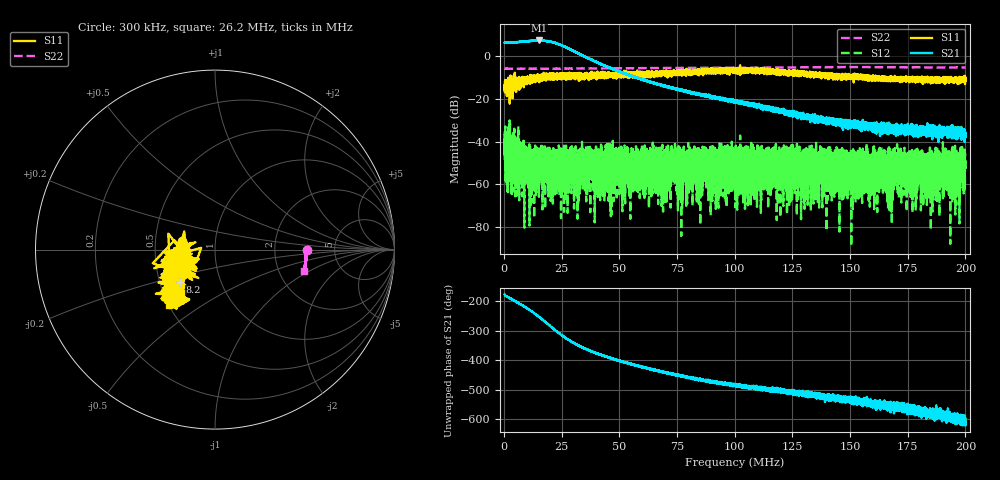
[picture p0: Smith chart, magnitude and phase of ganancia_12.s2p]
# Hz S DB R 50
! CMT, M5065, 19127446, 24.2.4/2
! Date: 11/8/2024 4:55:21 PM
! Data: Format (Calibration Info)
! Freq	S11:dB/Ang(F2)	S21:dB/Ang(F2)	S12:dB/Ang(F2)	S22:dB/Ang(F2)
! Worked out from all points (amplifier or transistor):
!   9000 points, 300 kHz to 200 MHz, reference 50 ohm
!   highest |S21| = 7.4 dB at 15.19 MHz (marker M1)
!   |S21| within 3 dB of that: start of sweep to 26.35 MHz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
!   unconditionally stable (mu >= 1): start of sweep to end of sweep
!   at 33.59 MHz: K = 127.96, MAG = 2.4 dB, |S12| = -52.5 dB
!   at 100.2 MHz: K = 970.43, MAG = -18.4 dB, |S12| = -49.9 dB
!   at 200 MHz: K = 10442.73, MAG = -35.5 dB, |S12| = -52.7 dB
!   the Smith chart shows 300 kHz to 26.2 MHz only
!   S11 on the Smith chart (normalised r, x): 300 kHz: 0.68, +0.07; 8.2 MHz: 0.64, -0.25; 26.2 MHz: 0.50, -0.37
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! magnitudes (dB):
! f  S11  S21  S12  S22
! 300 kHz  -14.4  6.3  -41.1  -5.9
! 1.609 MHz  -14.7  6.3  -55.0  -5.9
! 8.2 MHz  -11.5  6.8  -41.7  -5.9
! 13.35 MHz  -9.6  7.3  -43.2  -5.8
! 15.19 MHz  -9.1  7.4  -47.5  -5.9
! 26.2 MHz  -8.0  4.6  -51.3  -5.8
! 33.59 MHz  -9.5  0.6  -52.5  -5.8
! 66.87 MHz  -7.8  -13.1  -53.3  -5.5
! 100.2 MHz  -6.7  -20.9  -49.9  -5.4
! 102.2 MHz  -6.9  -21.7  -57.6  -5.4
! 108.8 MHz  -7.5  -23.0  -55.5  -5.4
! 116.9 MHz  -6.5  -25.6  -49.7  -5.3
! 118.9 MHz  -7.1  -25.6  -53.4  -5.3
! 127.2 MHz  -8.4  -26.2  -44.2  -5.2
! 129.6 MHz  -8.3  -27.8  -47.0  -5.2
! 133.4 MHz  -9.0  -28.8  -53.3  -5.1
! 159 MHz  -10.2  -34.3  -49.7  -5.1
! 160.7 MHz  -10.3  -31.0  -49.8  -5.1
! 166.7 MHz  -10.2  -34.7  -63.0  -5.1
! 172.8 MHz  -10.5  -33.3  -56.3  -5.1
! 177.8 MHz  -10.1  -34.2  -53.3  -5.2
! 200 MHz  -11.5  -37.3  -52.7  -5.3
